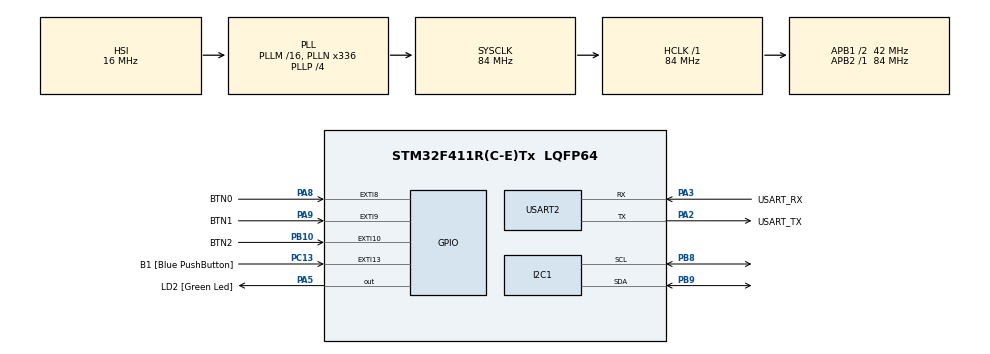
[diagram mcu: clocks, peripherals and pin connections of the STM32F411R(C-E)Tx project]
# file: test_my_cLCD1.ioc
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Mcu.Family=STM32F4
Mcu.Name=STM32F411R(C-E)Tx
Mcu.Package=LQFP64
NVIC.EXTI15_10_IRQn=true\:0\:0\:false\:false\:true\:true\:true\:true
NVIC.EXTI9_5_IRQn=true\:0\:0\:false\:false\:true\:true\:true\:true
NVIC.PriorityGroup=NVIC_PRIORITYGROUP_0
PA13.GPIO_Label=TMS
PA13.Mode=Serial_Wire
PA13.Signal=SYS_JTMS-SWDIO
PA14.GPIO_Label=TCK
PA14.Mode=Serial_Wire
PA14.Signal=SYS_JTCK-SWCLK
PA2.GPIO_Label=USART_TX
PA2.Mode=Asynchronous
PA2.Signal=USART2_TX
PA3.GPIO_Label=USART_RX
PA3.Mode=Asynchronous
PA3.Signal=USART2_RX
PA5.GPIO_Label=LD2 [Green Led]
PA5.Signal=GPIO_Output
PA8.GPIO_Label=BTN0
PA8.GPIO_PuPd=GPIO_PULLUP
PA8.Signal=GPXTI8
PA9.GPIO_Label=BTN1
PA9.GPIO_PuPd=GPIO_PULLUP
PA9.Signal=GPXTI9
PB10.GPIO_Label=BTN2
PB10.Signal=GPXTI10
PB3.GPIO_Label=SWO
PB3.Signal=SYS_JTDO-SWO
PB8.Mode=I2C
PB8.Signal=I2C1_SCL
PB9.Mode=I2C
PB9.Signal=I2C1_SDA
PC13-ANTI_TAMP.GPIO_Label=B1 [Blue PushButton]
PC13-ANTI_TAMP.GPIO_ModeDefaultEXTI=GPIO_MODE_IT_FALLING
PC13-ANTI_TAMP.Signal=GPXTI13
PC14-OSC32_IN.Mode=LSE-External-Oscillator
PC14-OSC32_IN.Signal=RCC_OSC32_IN
PC15-OSC32_OUT.Mode=LSE-External-Oscillator
PC15-OSC32_OUT.Signal=RCC_OSC32_OUT
PH0\ -\ OSC_IN.Mode=HSE-External-Clock-Source
PH0\ -\ OSC_IN.Signal=RCC_OSC_IN
PH1\ -\ OSC_OUT.Mode=HSE-External-Clock-Source
PH1\ -\ OSC_OUT.Signal=RCC_OSC_OUT
ProjectManager.HeapSize=0x200
ProjectManager.StackSize=0x400
ProjectManager.TargetToolchain=STM32CubeIDE
RCC.48MHZClocksFreq_Value=84000000
RCC.AHBFreq_Value=84000000
RCC.APB1CLKDivider=RCC_HCLK_DIV2
RCC.APB1Freq_Value=42000000
RCC.APB1TimFreq_Value=84000000
RCC.APB2Freq_Value=84000000
RCC.APB2TimFreq_Value=84000000
RCC.CortexFreq_Value=84000000
RCC.FLatency-AdvancedSettings=FLASH_LATENCY_2
RCC.HCLKFreq_Value=84000000
RCC.HSE_VALUE=8000000
RCC.HSI_VALUE=16000000
RCC.PLLN=336
RCC.PLLP=RCC_PLLP_DIV4
RCC.SYSCLKFreq_VALUE=84000000
RCC.SYSCLKSource=RCC_SYSCLKSOURCE_PLLCLK
RCC.VCOOutputFreq_Value=336000000
USART2.VirtualMode=VM_ASYNC
board=NUCLEO-F411RE

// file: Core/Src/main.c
/* USER CODE BEGIN Header */
/**
  ******************************************************************************
  * @file           : main.c
  * @brief          : Main program body
  ******************************************************************************
  * @attention
  *
  * Copyright (c) 2024 STMicroelectronics.
  * All rights reserved.
  *
  * This software is licensed under terms that can be found in the LICENSE file
  * in the root directory of this software component.
  * If no LICENSE file comes with this software, it is provided AS-IS.
  *
  ******************************************************************************
  */
/* USER CODE END Header */
#include "main.h"

I2C_HandleTypeDef hi2c1;

UART_HandleTypeDef huart2;

void SystemClock_Config(void);
static void MX_GPIO_Init(void);
static void MX_USART2_UART_Init(void);
static void MX_I2C1_Init(void);

/* USER CODE BEGIN 0 */
unsigned char *str1 = NULL;
unsigned char *str2 = NULL;
unsigned short ch;

unsigned char *tt1 = "I Miss You   ";
unsigned char *tt2 = "Every day... ";
unsigned char *tt3 = "I Love You   ";
unsigned char *tt4 = "Forever!     ";

void HAL_GPIO_EXTI_Callback(uint16_t GPIO_Pin)
{
	switch(GPIO_Pin)
	{
		case BTN0_Pin :
			str1 = tt1;
			str2 = tt2;
			break;
		case BTN1_Pin :
			str1 = tt3;
			str2 = tt4;
			break;
	}
}
/* USER CODE END 0 */

int main(void)
{

  /* MCU Configuration--------------------------------------------------------*/

  /* Reset of all peripherals, Initializes the Flash interface and the Systick. */
  HAL_Init();

  /* Configure the system clock */
  SystemClock_Config();

  /* Initialize all configured peripherals */
  MX_GPIO_Init();
  MX_USART2_UART_Init();
  MX_I2C1_Init();
  /* USER CODE BEGIN 2 */

  ProgramStart("LCD (1602)");
  i2c_init(&hi2c1);
  i2c_scan();

  lcd_init();

  str1 = "LCD Test";
  str2 = "Let's start";

  /* USER CODE END 2 */

  /* Infinite loop */
  while (1)
  {

    /* USER CODE BEGIN 3 */
	    lcd_printEx(str1, 0);
		HAL_Delay(50);
		lcd_printEx(str2, 1);
		HAL_Delay(50);

  }
  /* USER CODE END 3 */
}

void SystemClock_Config(void)
{
  RCC_OscInitTypeDef RCC_OscInitStruct = {0};
  RCC_ClkInitTypeDef RCC_ClkInitStruct = {0};

  /** Configure the main internal regulator output voltage
  */
  __HAL_RCC_PWR_CLK_ENABLE();
  __HAL_PWR_VOLTAGESCALING_CONFIG(PWR_REGULATOR_VOLTAGE_SCALE1);

  /** Initializes the RCC Oscillators according to the specified parameters
  * in the RCC_OscInitTypeDef structure.
  */
  RCC_OscInitStruct.OscillatorType = RCC_OSCILLATORTYPE_HSI;
  RCC_OscInitStruct.HSIState = RCC_HSI_ON;
  RCC_OscInitStruct.HSICalibrationValue = RCC_HSICALIBRATION_DEFAULT;
  RCC_OscInitStruct.PLL.PLLState = RCC_PLL_ON;
  RCC_OscInitStruct.PLL.PLLSource = RCC_PLLSOURCE_HSI;
  RCC_OscInitStruct.PLL.PLLM = 16;
  RCC_OscInitStruct.PLL.PLLN = 336;
  RCC_OscInitStruct.PLL.PLLP = RCC_PLLP_DIV4;
  RCC_OscInitStruct.PLL.PLLQ = 4;
  if (HAL_RCC_OscConfig(&RCC_OscInitStruct) != HAL_OK)
  {
    Error_Handler();
  }

  /** Initializes the CPU, AHB and APB buses clocks
  */
  RCC_ClkInitStruct.ClockType = RCC_CLOCKTYPE_HCLK|RCC_CLOCKTYPE_SYSCLK
                              |RCC_CLOCKTYPE_PCLK1|RCC_CLOCKTYPE_PCLK2;
  RCC_ClkInitStruct.SYSCLKSource = RCC_SYSCLKSOURCE_PLLCLK;
  RCC_ClkInitStruct.AHBCLKDivider = RCC_SYSCLK_DIV1;
  RCC_ClkInitStruct.APB1CLKDivider = RCC_HCLK_DIV2;
  RCC_ClkInitStruct.APB2CLKDivider = RCC_HCLK_DIV1;

  if (HAL_RCC_ClockConfig(&RCC_ClkInitStruct, FLASH_LATENCY_2) != HAL_OK)
  {
    Error_Handler();
  }
}

static void MX_I2C1_Init(void)
{

  hi2c1.Instance = I2C1;
  hi2c1.Init.ClockSpeed = 100000;
  hi2c1.Init.DutyCycle = I2C_DUTYCYCLE_2;
  hi2c1.Init.OwnAddress1 = 0;
  hi2c1.Init.AddressingMode = I2C_ADDRESSINGMODE_7BIT;
  hi2c1.Init.DualAddressMode = I2C_DUALADDRESS_DISABLE;
  hi2c1.Init.OwnAddress2 = 0;
  hi2c1.Init.GeneralCallMode = I2C_GENERALCALL_DISABLE;
  hi2c1.Init.NoStretchMode = I2C_NOSTRETCH_DISABLE;
  if (HAL_I2C_Init(&hi2c1) != HAL_OK)
  {
    Error_Handler();
  }

}

static void MX_USART2_UART_Init(void)
{

  huart2.Instance = USART2;
  huart2.Init.BaudRate = 115200;
  huart2.Init.WordLength = UART_WORDLENGTH_8B;
  huart2.Init.StopBits = UART_STOPBITS_1;
  huart2.Init.Parity = UART_PARITY_NONE;
  huart2.Init.Mode = UART_MODE_TX_RX;
  huart2.Init.HwFlowCtl = UART_HWCONTROL_NONE;
  huart2.Init.OverSampling = UART_OVERSAMPLING_16;
  if (HAL_UART_Init(&huart2) != HAL_OK)
  {
    Error_Handler();
  }

}

static void MX_GPIO_Init(void)
{
  GPIO_InitTypeDef GPIO_InitStruct = {0};

  /* GPIO Ports Clock Enable */
  __HAL_RCC_GPIOC_CLK_ENABLE();
  __HAL_RCC_GPIOH_CLK_ENABLE();
  __HAL_RCC_GPIOA_CLK_ENABLE();
  __HAL_RCC_GPIOB_CLK_ENABLE();

  /*Configure GPIO pin Output Level */
  HAL_GPIO_WritePin(LD2_GPIO_Port, LD2_Pin, GPIO_PIN_RESET);

  /*Configure GPIO pin : B1_Pin */
  GPIO_InitStruct.Pin = B1_Pin;
  GPIO_InitStruct.Mode = GPIO_MODE_IT_FALLING;
  GPIO_InitStruct.Pull = GPIO_NOPULL;
  HAL_GPIO_Init(B1_GPIO_Port, &GPIO_InitStruct);

  /*Configure GPIO pin : LD2_Pin */
  GPIO_InitStruct.Pin = LD2_Pin;
  GPIO_InitStruct.Mode = GPIO_MODE_OUTPUT_PP;
  GPIO_InitStruct.Pull = GPIO_NOPULL;
  GPIO_InitStruct.Speed = GPIO_SPEED_FREQ_LOW;
  HAL_GPIO_Init(LD2_GPIO_Port, &GPIO_InitStruct);

  /*Configure GPIO pin : BTN2_Pin */
  GPIO_InitStruct.Pin = BTN2_Pin;
  GPIO_InitStruct.Mode = GPIO_MODE_IT_RISING;
  GPIO_InitStruct.Pull = GPIO_NOPULL;
  HAL_GPIO_Init(BTN2_GPIO_Port, &GPIO_InitStruct);

  /*Configure GPIO pins : BTN0_Pin BTN1_Pin */
  GPIO_InitStruct.Pin = BTN0_Pin|BTN1_Pin;
  GPIO_InitStruct.Mode = GPIO_MODE_IT_RISING;
  GPIO_InitStruct.Pull = GPIO_PULLUP;
  HAL_GPIO_Init(GPIOA, &GPIO_InitStruct);

  /* EXTI interrupt init*/
  HAL_NVIC_SetPriority(EXTI9_5_IRQn, 0, 0);
  HAL_NVIC_EnableIRQ(EXTI9_5_IRQn);

  HAL_NVIC_SetPriority(EXTI15_10_IRQn, 0, 0);
  HAL_NVIC_EnableIRQ(EXTI15_10_IRQn);

}

void Error_Handler(void)
{
  __disable_irq();
  while (1)
  {
  }
}
